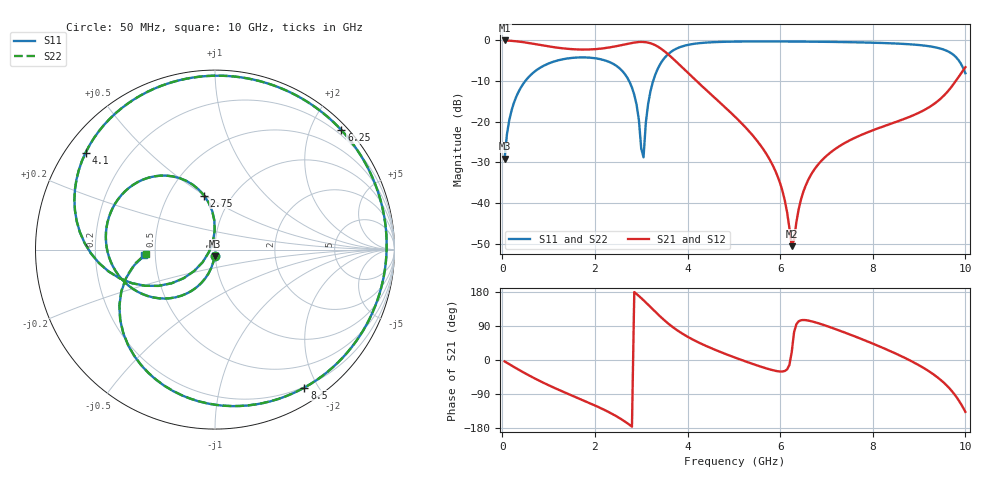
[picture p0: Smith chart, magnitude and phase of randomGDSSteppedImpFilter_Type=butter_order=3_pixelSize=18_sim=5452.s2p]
! freq	dB(S11)	phase(S11)	dB(S12)	phase(S12)
!  dB(S21)	phase(S21)	dB(S22)	phase(S22)
!S-par simulation data
#  GHz  S  DB  R 50
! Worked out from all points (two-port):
!   200 points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, 50 MHz to 10 GHz, reference 50 ohm
!   highest |S21| = -0.01 dB at 50 MHz (marker M1); lowest = -50.7 dB at 6.25 GHz (marker M2)
!   |S21| within 3 dB of the highest: start of sweep to 3.539 GHz
!   lowest |S11| = -29.1 dB at 50 MHz (marker M3), VSWR 1.07, Z = 49.6 - j3.48 ohm
!   |S11| at or under -10 dB: start of sweep to 496.7 MHz; 2.738 GHz to 3.258 GHz (519.9 MHz wide, 17.3 % of centre)
!   |S22| runs from -29.1 to -0.3 dB; largest |S21 - S12| = 0
!   S11 on the Smith chart (normalised r, x): 50 MHz: 0.99, -0.07; 2.75 GHz: 0.75, +0.50; 4.1 GHz: 0.06, +0.33; 6.25 GHz: 0.12, +2.51; 8.5 GHz: 0.19, -1.82; 10 GHz: 0.44, -0.03
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0.05  -29.10 -93.8  -0.01 -3.7  -0.01 -3.7  -29.10 -93.8
0.2  -17.24 -105.2  -0.11 -14.7  -0.11 -14.7  -17.24 -105.2
0.5  -9.95 -126.1  -0.51 -35.6  -0.51 -35.6  -9.95 -126.1
1.75  -4.18 163.1  -2.25 -106.5  -2.25 -106.5  -4.18 163.1
2.75  -10.25 101.4  -0.73 -171.3  -0.73 -171.3  -10.25 101.4
2.9  -15.85 91.2  -0.45 174.2  -0.45 174.2  -15.85 91.2
3.05  -28.77 -158.1  -0.39 157.7  -0.39 157.7  -28.79 -158.0
3.15  -15.56 -134.2  -0.55 145.9  -0.55 145.9  -15.56 -134.2
3.4  -6.04 -158.0  -1.83 116.0  -1.83 116.0  -6.04 -158.0
3.7  -2.39 172.6  -4.63 85.1  -4.63 85.1  -2.39 172.6
4.1  -0.91 143.2  -8.98 54.8  -8.98 54.8  -0.91 143.2
5.05  -0.29 94.8  -19.06 5.2  -19.06 5.2  -0.29 94.9
5.9  -0.26 58.2  -32.22 -28.6  -32.22 -28.6  -0.26 58.3
6.25  -0.27 43.4  -50.65 21.1  -50.65 21.1  -0.27 43.4
6.45  -0.29 34.8  -39.15 104.9  -39.15 104.9  -0.29 34.9
6.7  -0.31 24.1  -32.44 101.5  -32.44 101.5  -0.31 24.2
7.5  -0.43 -10.7  -24.61 67.6  -24.61 67.6  -0.43 -10.7
8.35  -0.69 -49.7  -20.68 25.0  -20.68 25.0  -0.69 -49.7
8.5  -0.76 -57.1  -20.07 16.7  -20.07 16.7  -0.76 -57.0
9.35  -1.70 -106.5  -15.42 -41.4  -15.42 -41.4  -1.71 -106.5
9.75  -3.62 -143.2  -10.67 -88.4  -10.67 -88.4  -3.67 -143.7
10  -8.09 -175.3  -6.59 -136.7  -6.59 -136.7  -8.30 -176.7
